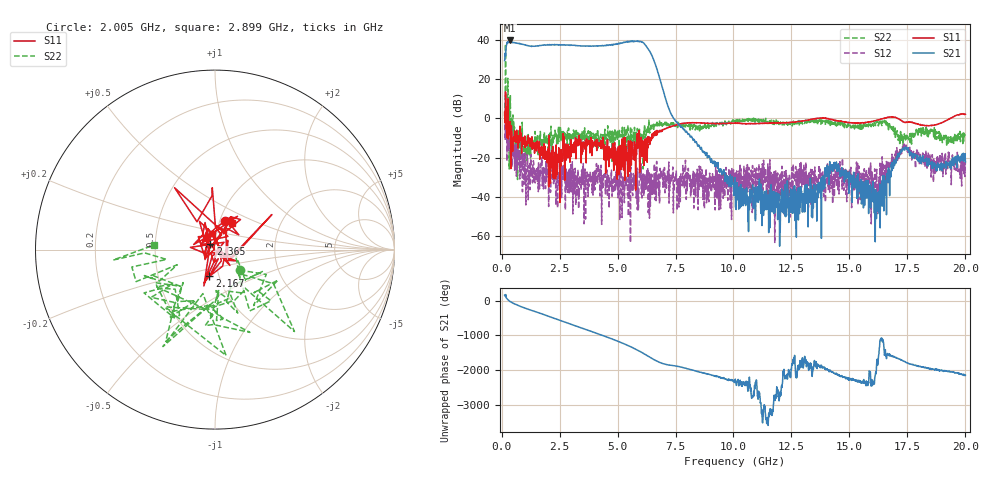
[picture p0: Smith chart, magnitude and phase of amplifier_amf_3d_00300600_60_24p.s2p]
!Created with skrf (http://scikit-rf.org).
# GHz S RI R 50.0
!freq ReS11 ImS11 ReS21 ImS21 ReS12 ImS12 ReS22 ImS22
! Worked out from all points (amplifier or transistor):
!   1601 points, 130 MHz to 20 GHz, reference 50 ohm
!   highest |S21| = 39.7 dB at 353.5 MHz (marker M1)
!   |S21| within 3 dB of that: 1.403 GHz to 6.243 GHz (4.84 GHz wide, 127 % of centre)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
!   unconditionally stable (mu >= 1): 7.037 GHz to 10.87 GHz; 14.04 GHz to 16.45 GHz; 17.12 GHz to 19.34 GHz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
!   at 3.433 GHz: K = 0.95, MSG = 36.7 dB, |S12| = -36.5 dB
!   at 10.06 GHz: K = 80.36, MAG = -22.1 dB, |S12| = -30.1 dB
!   at 20 GHz: K = -41.16, MSG = -0.2 dB, |S12| = -21.8 dB
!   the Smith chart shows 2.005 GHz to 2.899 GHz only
!   S11 on the Smith chart (normalised r, x): 2.005 GHz: 1.06, +0.35; 2.167 GHz: 0.90, -0.27; 2.365 GHz: 0.95, +0.06; 2.899 GHz: 1.16, +0.35
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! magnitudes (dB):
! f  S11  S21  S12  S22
! 130 MHz  3.1  29.4  -3.5  1.2
! 353.5 MHz  -1.5  39.7  -10.7  9.8
! 688.8 MHz  -10.6  38.3  -17.4  -31.2
! 1.061 GHz  -13.1  37.4  -25.8  -16.4
! 2.005 GHz  -15.4  37.6  -28.2  -15.0
! 2.167 GHz  -16.3  37.5  -24.3  -12.4
! 2.365 GHz  -27.6  37.6  -26.6  -8.1
! 2.899 GHz  -15.1  37.5  -26.3  -9.3
! 3.446 GHz  -12.7  36.9  -26.7  -7.8
! 4.986 GHz  -31.0  38.1  -32.3  -10.6
! 6.029 GHz  -17.3  39.0  -38.8  -7.7
! 6.762 GHz  -6.8  22.7  -28.0  -3.6
! 7.432 GHz  -3.7  -0.1  -37.3  -3.7
! 10.06 GHz  -2.5  -30.2  -30.1  -2.0
! 11.93 GHz  -2.3  -39.0  -39.2  -2.2
! 13.38 GHz  -0.4  -44.3  -31.7  -1.0
! 14.42 GHz  -1.0  -25.6  -26.3  -2.8
! 16.16 GHz  -1.0  -51.1  -30.3  -2.3
! 16.7 GHz  0.6  -26.2  -22.7  -2.8
! 17.38 GHz  -2.0  -15.9  -14.8  -10.0
! 18.7 GHz  -3.3  -24.6  -21.1  -5.7
! 20 GHz  2.1  -22.2  -21.8  -7.5
